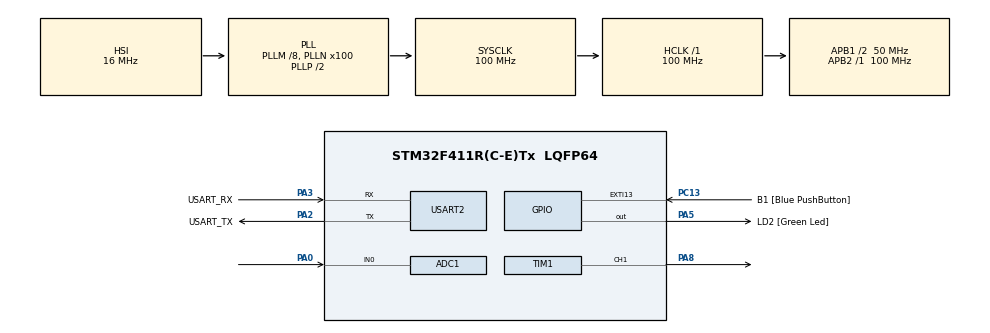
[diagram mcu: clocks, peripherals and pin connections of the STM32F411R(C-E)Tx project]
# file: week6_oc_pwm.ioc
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ADC1.Channel-0\#ChannelRegularConversion=ADC_CHANNEL_0
ADC1.ExternalTrigConv=ADC_EXTERNALTRIGCONV_T3_TRGO
ADC1.InjNumberOfConversion=0
ADC1.NbrOfConversion=1
ADC1.NbrOfConversionFlag=1
ADC1.Rank-0\#ChannelRegularConversion=1
ADC1.SamplingTime-0\#ChannelRegularConversion=ADC_SAMPLETIME_56CYCLES
ADC1.master=1
Mcu.Family=STM32F4
Mcu.Name=STM32F411R(C-E)Tx
Mcu.Package=LQFP64
NVIC.ADC_IRQn=true\:0\:0\:false\:false\:true\:true\:true
NVIC.PriorityGroup=NVIC_PRIORITYGROUP_0
PA0-WKUP.Signal=ADCx_IN0
PA13.GPIO_Label=TMS
PA13.Mode=Serial_Wire
PA13.Signal=SYS_JTMS-SWDIO
PA14.GPIO_Label=TCK
PA14.Mode=Serial_Wire
PA14.Signal=SYS_JTCK-SWCLK
PA2.GPIO_Label=USART_TX
PA2.Mode=Asynchronous
PA2.Signal=USART2_TX
PA3.GPIO_Label=USART_RX
PA3.Mode=Asynchronous
PA3.Signal=USART2_RX
PA5.GPIO_Label=LD2 [Green Led]
PA5.Signal=GPIO_Output
PA8.Signal=S_TIM1_CH1
PB3.GPIO_Label=SWO
PB3.Signal=SYS_JTDO-SWO
PC13-ANTI_TAMP.GPIO_Label=B1 [Blue PushButton]
PC13-ANTI_TAMP.GPIO_ModeDefaultEXTI=GPIO_MODE_IT_FALLING
PC13-ANTI_TAMP.Signal=GPXTI13
PC14-OSC32_IN.Mode=LSE-External-Oscillator
PC14-OSC32_IN.Signal=RCC_OSC32_IN
PC15-OSC32_OUT.Mode=LSE-External-Oscillator
PC15-OSC32_OUT.Signal=RCC_OSC32_OUT
PH0\ -\ OSC_IN.Mode=HSE-External-Clock-Source
PH0\ -\ OSC_IN.Signal=RCC_OSC_IN
PH1\ -\ OSC_OUT.Mode=HSE-External-Clock-Source
PH1\ -\ OSC_OUT.Signal=RCC_OSC_OUT
ProjectManager.HeapSize=0x200
ProjectManager.StackSize=0x400
ProjectManager.TargetToolchain=STM32CubeIDE
RCC.48MHZClocksFreq_Value=50000000
RCC.AHBFreq_Value=100000000
RCC.APB1CLKDivider=RCC_HCLK_DIV2
RCC.APB1Freq_Value=50000000
RCC.APB1TimFreq_Value=100000000
RCC.APB2Freq_Value=100000000
RCC.APB2TimFreq_Value=100000000
RCC.CortexFreq_Value=100000000
RCC.FLatency-AdvancedSettings=FLASH_LATENCY_3
RCC.HCLKFreq_Value=100000000
RCC.HSE_VALUE=8000000
RCC.HSI_VALUE=16000000
RCC.PLLM=8
RCC.PLLN=100
RCC.SYSCLKFreq_VALUE=100000000
RCC.SYSCLKSource=RCC_SYSCLKSOURCE_PLLCLK
RCC.VCOOutputFreq_Value=200000000
SH.ADCx_IN0.0=ADC1_IN0,IN0
SH.S_TIM1_CH1.0=TIM1_CH1,PWM Generation1 CH1
TIM1.Channel-PWM\ Generation1\ CH1=TIM_CHANNEL_1
TIM1.Period=10000
TIM1.Pulse-PWM\ Generation1\ CH1=10000
TIM11.Prescaler=99
TIM3.Period=1000
TIM3.Prescaler=99
TIM3.TIM_MasterOutputTrigger=TIM_TRGO_UPDATE
TIM3.TIM_MasterSlaveMode=TIM_MASTERSLAVEMODE_DISABLE
USART2.VirtualMode=VM_ASYNC
VP_TIM11_VS_ClockSourceINT.Mode=Enable_Timer
VP_TIM1_VS_ClockSourceINT.Mode=Internal
VP_TIM3_VS_ClockSourceINT.Mode=Internal
board=NUCLEO-F411RE

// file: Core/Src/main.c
/* USER CODE BEGIN Header */
/**
  ******************************************************************************
  * @file           : main.c
  * @brief          : Main program body
  ******************************************************************************
  * @attention
  *
  * <h2><center>&copy; Copyright (c) 2021 STMicroelectronics.
  * All rights reserved.</center></h2>
  *
  * This software component is licensed by ST under BSD 3-Clause license,
  * the "License"; You may not use this file except in compliance with the
  * License. You may obtain a copy of the License at:
  *                        opensource.org/licenses/BSD-3-Clause
  *
  ******************************************************************************
  */
/* USER CODE END Header */
#include "main.h"

ADC_HandleTypeDef hadc1;

TIM_HandleTypeDef htim1;
TIM_HandleTypeDef htim3;
TIM_HandleTypeDef htim11;

UART_HandleTypeDef huart2;

/* USER CODE BEGIN PV */

uint16_t ADCFeedBack  = 0,timeoutputloop = 0,PWMoutput = 10000,ADCFlag = 0;
double x = 0;
uint64_t _micro = 0;

/* USER CODE END PV */

void SystemClock_Config(void);
static void MX_GPIO_Init(void);
static void MX_USART2_UART_Init(void);
static void MX_ADC1_Init(void);
static void MX_TIM1_Init(void);
static void MX_TIM3_Init(void);
static void MX_TIM11_Init(void);
/* USER CODE BEGIN PFP */

uint64_t micro();

/* USER CODE END PFP */

int main(void)
{

  /* MCU Configuration--------------------------------------------------------*/

  /* Reset of all peripherals, Initializes the Flash interface and the Systick. */
  HAL_Init();

  /* Configure the system clock */
  SystemClock_Config();

  /* Initialize all configured peripherals */
  MX_GPIO_Init();
  MX_USART2_UART_Init();
  MX_ADC1_Init();
  MX_TIM1_Init();
  MX_TIM3_Init();
  MX_TIM11_Init();
  /* USER CODE BEGIN 2 */

  // adc start
  HAL_ADC_Start_IT(&hadc1);
  HAL_TIM_Base_Start(&htim3);

  //start pwm
  HAL_TIM_Base_Start(&htim1);
  HAL_TIM_PWM_Start(&htim1, TIM_CHANNEL_1);

  //start micro
  HAL_TIM_Base_Start_IT(&htim11);

  /* USER CODE END 2 */

  /* Infinite loop */
  /* USER CODE BEGIN WHILE */
  while (1)
  {
	  if(ADCFlag){
		  x = 2000-(3e7*ADCFeedBack/(PWMoutput*((1<<12)-1)));
		  PWMoutput = ((double)10000/3.3)*((double)3000/(2000-x));

		  __HAL_TIM_SET_COMPARE(&htim1,TIM_CHANNEL_1,PWMoutput);
		  ADCFlag = 0;
	  }

	  /*if(micro()-timeoutputloop >= 1000){
		  timeoutputloop = micro();

		  __HAL_TIM_SET_COMPARE(&htim1,TIM_CHANNEL_1,PWMoutput);
	  }*/

    /* USER CODE END WHILE */

  }
}

void SystemClock_Config(void)
{
  RCC_OscInitTypeDef RCC_OscInitStruct = {0};
  RCC_ClkInitTypeDef RCC_ClkInitStruct = {0};

  /** Configure the main internal regulator output voltage
  */
  __HAL_RCC_PWR_CLK_ENABLE();
  __HAL_PWR_VOLTAGESCALING_CONFIG(PWR_REGULATOR_VOLTAGE_SCALE1);
  /** Initializes the RCC Oscillators according to the specified parameters
  * in the RCC_OscInitTypeDef structure.
  */
  RCC_OscInitStruct.OscillatorType = RCC_OSCILLATORTYPE_HSI;
  RCC_OscInitStruct.HSIState = RCC_HSI_ON;
  RCC_OscInitStruct.HSICalibrationValue = RCC_HSICALIBRATION_DEFAULT;
  RCC_OscInitStruct.PLL.PLLState = RCC_PLL_ON;
  RCC_OscInitStruct.PLL.PLLSource = RCC_PLLSOURCE_HSI;
  RCC_OscInitStruct.PLL.PLLM = 8;
  RCC_OscInitStruct.PLL.PLLN = 100;
  RCC_OscInitStruct.PLL.PLLP = RCC_PLLP_DIV2;
  RCC_OscInitStruct.PLL.PLLQ = 4;
  if (HAL_RCC_OscConfig(&RCC_OscInitStruct) != HAL_OK)
  {
    Error_Handler();
  }
  /** Initializes the CPU, AHB and APB buses clocks
  */
  RCC_ClkInitStruct.ClockType = RCC_CLOCKTYPE_HCLK|RCC_CLOCKTYPE_SYSCLK
                              |RCC_CLOCKTYPE_PCLK1|RCC_CLOCKTYPE_PCLK2;
  RCC_ClkInitStruct.SYSCLKSource = RCC_SYSCLKSOURCE_PLLCLK;
  RCC_ClkInitStruct.AHBCLKDivider = RCC_SYSCLK_DIV1;
  RCC_ClkInitStruct.APB1CLKDivider = RCC_HCLK_DIV2;
  RCC_ClkInitStruct.APB2CLKDivider = RCC_HCLK_DIV1;

  if (HAL_RCC_ClockConfig(&RCC_ClkInitStruct, FLASH_LATENCY_3) != HAL_OK)
  {
    Error_Handler();
  }
}

static void MX_ADC1_Init(void)
{

  ADC_ChannelConfTypeDef sConfig = {0};

  /** Configure the global features of the ADC (Clock, Resolution, Data Alignment and number of conversion)
  */
  hadc1.Instance = ADC1;
  hadc1.Init.ClockPrescaler = ADC_CLOCK_SYNC_PCLK_DIV4;
  hadc1.Init.Resolution = ADC_RESOLUTION_12B;
  hadc1.Init.ScanConvMode = DISABLE;
  hadc1.Init.ContinuousConvMode = DISABLE;
  hadc1.Init.DiscontinuousConvMode = DISABLE;
  hadc1.Init.ExternalTrigConvEdge = ADC_EXTERNALTRIGCONVEDGE_RISING;
  hadc1.Init.ExternalTrigConv = ADC_EXTERNALTRIGCONV_T3_TRGO;
  hadc1.Init.DataAlign = ADC_DATAALIGN_RIGHT;
  hadc1.Init.NbrOfConversion = 1;
  hadc1.Init.DMAContinuousRequests = DISABLE;
  hadc1.Init.EOCSelection = ADC_EOC_SINGLE_CONV;
  if (HAL_ADC_Init(&hadc1) != HAL_OK)
  {
    Error_Handler();
  }
  /** Configure for the selected ADC regular channel its corresponding rank in the sequencer and its sample time.
  */
  sConfig.Channel = ADC_CHANNEL_0;
  sConfig.Rank = 1;
  sConfig.SamplingTime = ADC_SAMPLETIME_56CYCLES;
  if (HAL_ADC_ConfigChannel(&hadc1, &sConfig) != HAL_OK)
  {
    Error_Handler();
  }

}

static void MX_TIM1_Init(void)
{

  TIM_ClockConfigTypeDef sClockSourceConfig = {0};
  TIM_MasterConfigTypeDef sMasterConfig = {0};
  TIM_OC_InitTypeDef sConfigOC = {0};
  TIM_BreakDeadTimeConfigTypeDef sBreakDeadTimeConfig = {0};

  htim1.Instance = TIM1;
  htim1.Init.Prescaler = 0;
  htim1.Init.CounterMode = TIM_COUNTERMODE_UP;
  htim1.Init.Period = 10000;
  htim1.Init.ClockDivision = TIM_CLOCKDIVISION_DIV1;
  htim1.Init.RepetitionCounter = 0;
  htim1.Init.AutoReloadPreload = TIM_AUTORELOAD_PRELOAD_DISABLE;
  if (HAL_TIM_Base_Init(&htim1) != HAL_OK)
  {
    Error_Handler();
  }
  sClockSourceConfig.ClockSource = TIM_CLOCKSOURCE_INTERNAL;
  if (HAL_TIM_ConfigClockSource(&htim1, &sClockSourceConfig) != HAL_OK)
  {
    Error_Handler();
  }
  if (HAL_TIM_PWM_Init(&htim1) != HAL_OK)
  {
    Error_Handler();
  }
  sMasterConfig.MasterOutputTrigger = TIM_TRGO_RESET;
  sMasterConfig.MasterSlaveMode = TIM_MASTERSLAVEMODE_DISABLE;
  if (HAL_TIMEx_MasterConfigSynchronization(&htim1, &sMasterConfig) != HAL_OK)
  {
    Error_Handler();
  }
  sConfigOC.OCMode = TIM_OCMODE_PWM1;
  sConfigOC.Pulse = 10000;
  sConfigOC.OCPolarity = TIM_OCPOLARITY_HIGH;
  sConfigOC.OCNPolarity = TIM_OCNPOLARITY_HIGH;
  sConfigOC.OCFastMode = TIM_OCFAST_DISABLE;
  sConfigOC.OCIdleState = TIM_OCIDLESTATE_RESET;
  sConfigOC.OCNIdleState = TIM_OCNIDLESTATE_RESET;
  if (HAL_TIM_PWM_ConfigChannel(&htim1, &sConfigOC, TIM_CHANNEL_1) != HAL_OK)
  {
    Error_Handler();
  }
  sBreakDeadTimeConfig.OffStateRunMode = TIM_OSSR_DISABLE;
  sBreakDeadTimeConfig.OffStateIDLEMode = TIM_OSSI_DISABLE;
  sBreakDeadTimeConfig.LockLevel = TIM_LOCKLEVEL_OFF;
  sBreakDeadTimeConfig.DeadTime = 0;
  sBreakDeadTimeConfig.BreakState = TIM_BREAK_DISABLE;
  sBreakDeadTimeConfig.BreakPolarity = TIM_BREAKPOLARITY_HIGH;
  sBreakDeadTimeConfig.AutomaticOutput = TIM_AUTOMATICOUTPUT_DISABLE;
  if (HAL_TIMEx_ConfigBreakDeadTime(&htim1, &sBreakDeadTimeConfig) != HAL_OK)
  {
    Error_Handler();
  }
  HAL_TIM_MspPostInit(&htim1);

}

static void MX_TIM3_Init(void)
{

  TIM_ClockConfigTypeDef sClockSourceConfig = {0};
  TIM_MasterConfigTypeDef sMasterConfig = {0};

  htim3.Instance = TIM3;
  htim3.Init.Prescaler = 99;
  htim3.Init.CounterMode = TIM_COUNTERMODE_UP;
  htim3.Init.Period = 1000;
  htim3.Init.ClockDivision = TIM_CLOCKDIVISION_DIV1;
  htim3.Init.AutoReloadPreload = TIM_AUTORELOAD_PRELOAD_DISABLE;
  if (HAL_TIM_Base_Init(&htim3) != HAL_OK)
  {
    Error_Handler();
  }
  sClockSourceConfig.ClockSource = TIM_CLOCKSOURCE_INTERNAL;
  if (HAL_TIM_ConfigClockSource(&htim3, &sClockSourceConfig) != HAL_OK)
  {
    Error_Handler();
  }
  sMasterConfig.MasterOutputTrigger = TIM_TRGO_UPDATE;
  sMasterConfig.MasterSlaveMode = TIM_MASTERSLAVEMODE_DISABLE;
  if (HAL_TIMEx_MasterConfigSynchronization(&htim3, &sMasterConfig) != HAL_OK)
  {
    Error_Handler();
  }

}

static void MX_TIM11_Init(void)
{

  htim11.Instance = TIM11;
  htim11.Init.Prescaler = 99;
  htim11.Init.CounterMode = TIM_COUNTERMODE_UP;
  htim11.Init.Period = 65535;
  htim11.Init.ClockDivision = TIM_CLOCKDIVISION_DIV1;
  htim11.Init.AutoReloadPreload = TIM_AUTORELOAD_PRELOAD_DISABLE;
  if (HAL_TIM_Base_Init(&htim11) != HAL_OK)
  {
    Error_Handler();
  }

}

static void MX_USART2_UART_Init(void)
{

  huart2.Instance = USART2;
  huart2.Init.BaudRate = 115200;
  huart2.Init.WordLength = UART_WORDLENGTH_8B;
  huart2.Init.StopBits = UART_STOPBITS_1;
  huart2.Init.Parity = UART_PARITY_NONE;
  huart2.Init.Mode = UART_MODE_TX_RX;
  huart2.Init.HwFlowCtl = UART_HWCONTROL_NONE;
  huart2.Init.OverSampling = UART_OVERSAMPLING_16;
  if (HAL_UART_Init(&huart2) != HAL_OK)
  {
    Error_Handler();
  }

}

static void MX_GPIO_Init(void)
{
  GPIO_InitTypeDef GPIO_InitStruct = {0};

  /* GPIO Ports Clock Enable */
  __HAL_RCC_GPIOC_CLK_ENABLE();
  __HAL_RCC_GPIOH_CLK_ENABLE();
  __HAL_RCC_GPIOA_CLK_ENABLE();
  __HAL_RCC_GPIOB_CLK_ENABLE();

  /*Configure GPIO pin Output Level */
  HAL_GPIO_WritePin(LD2_GPIO_Port, LD2_Pin, GPIO_PIN_RESET);

  /*Configure GPIO pin : B1_Pin */
  GPIO_InitStruct.Pin = B1_Pin;
  GPIO_InitStruct.Mode = GPIO_MODE_IT_FALLING;
  GPIO_InitStruct.Pull = GPIO_NOPULL;
  HAL_GPIO_Init(B1_GPIO_Port, &GPIO_InitStruct);

  /*Configure GPIO pin : LD2_Pin */
  GPIO_InitStruct.Pin = LD2_Pin;
  GPIO_InitStruct.Mode = GPIO_MODE_OUTPUT_PP;
  GPIO_InitStruct.Pull = GPIO_NOPULL;
  GPIO_InitStruct.Speed = GPIO_SPEED_FREQ_LOW;
  HAL_GPIO_Init(LD2_GPIO_Port, &GPIO_InitStruct);

}

/* USER CODE BEGIN 4 */

void HAL_ADC_ConvCpltCallback(ADC_HandleTypeDef* hadc){
	ADCFeedBack = HAL_ADC_GetValue(&hadc1);
	ADCFlag = 1;
}
void HAL_TIM_PeriodElapsedCallback(TIM_HandleTypeDef *htim){
	if(htim == &htim11){
		_micro += (1<<16)-1;
	}
}

uint64_t micro(){
	return _micro+ htim11.Instance->CNT;
}

/* USER CODE END 4 */

void Error_Handler(void)
{
  __disable_irq();
  while (1)
  {
  }
}

/************************ (C) COPYRIGHT STMicroelectronics *****END OF FILE****/
